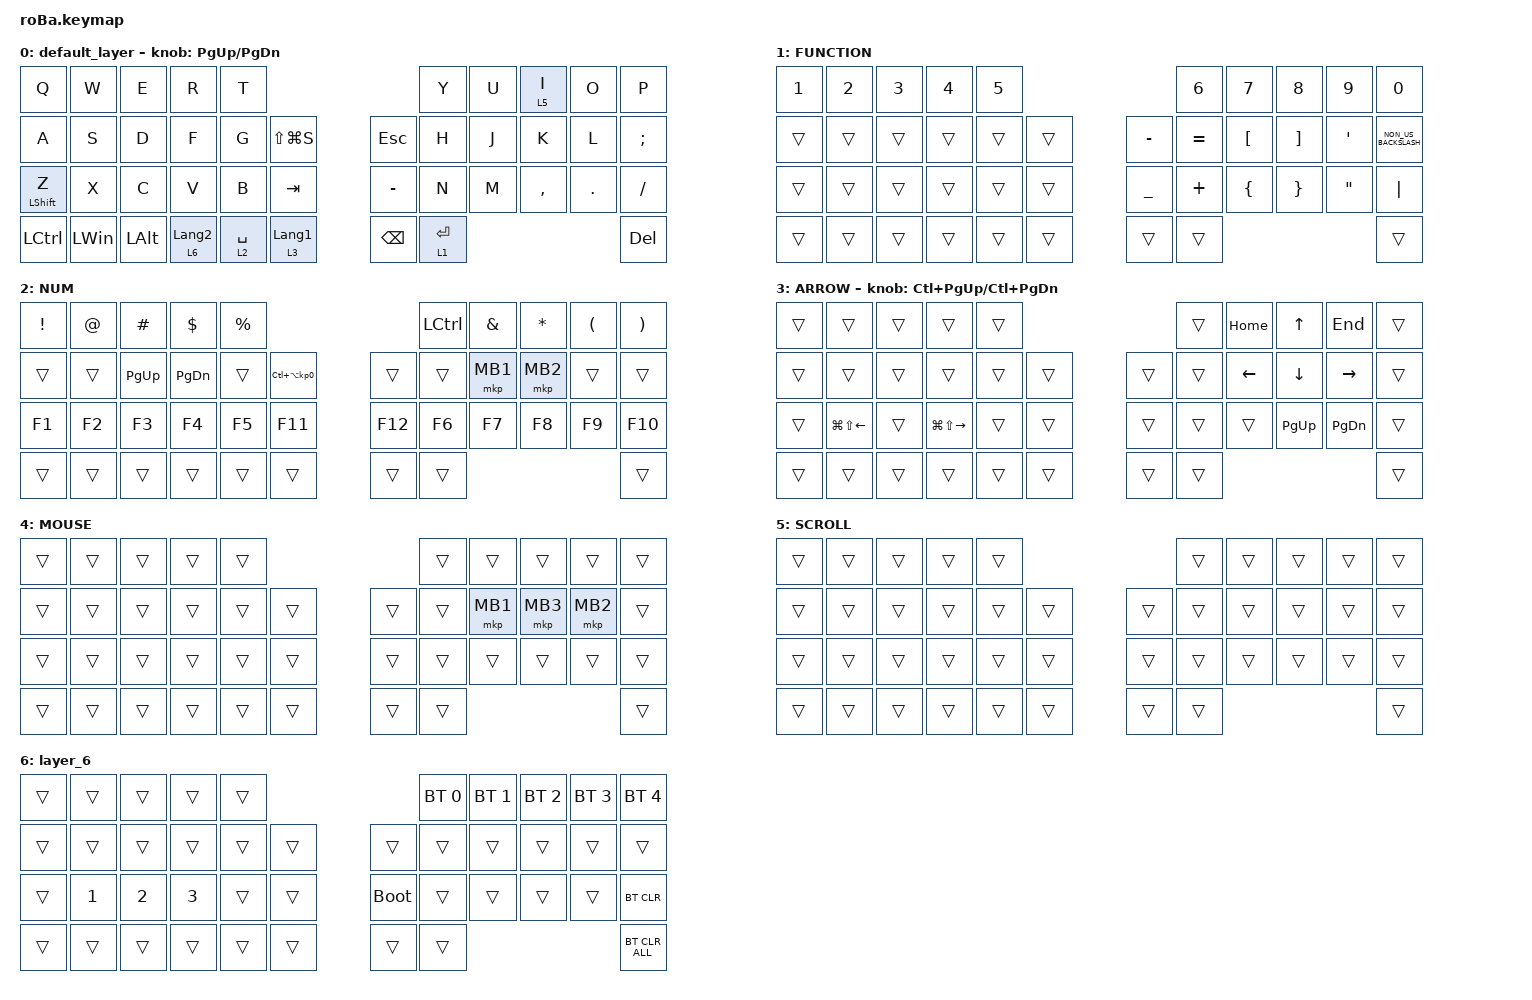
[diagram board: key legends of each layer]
#include <behaviors.dtsi>
#include <dt-bindings/zmk/bt.h>
#include <dt-bindings/zmk/keys.h>
#include <dt-bindings/zmk/pointing.h>

&mt {
    flavor = "balanced";
    quick-tap-ms = <0>;
};

&trackball {
    #automouse-layer = <4>;
    scroll-layers = <5>;

    // arrows {
    //     layers = <3>;
    //     bindings =
    //         <&kp RIGHT_ARROW>,
    //         <&kp LEFT_ARROW>,
    //         <&kp UP_ARROW>,
    //         <&kp DOWN_ARROW>;
    //     tick = <10>;
    //     wait-ms = <5>;
    //     tap-ms = <5>;
    // };
};

/ {
    combos {
        compatible = "zmk,combos";

        tab {
            bindings = <&kp TAB>;
            key-positions = <11 12>;
        };

        shift_tab {
            bindings = <&kp LS(TAB)>;
            key-positions = <12 13>;
        };

        muhennkann {
            bindings = <&to_layer_0 INT_MUHENKAN>;
            key-positions = <11 10>;
        };

        double_quotation {
            bindings = <&kp DOUBLE_QUOTES>;
            key-positions = <20 21>;
        };

        eq {
            bindings = <&kp EQUAL>;
            key-positions = <24 25>;
        };
    };

    macros {
        to_layer_0: to_layer_0 {
            compatible = "zmk,behavior-macro-one-param";
            #binding-cells = <1>;
            bindings = <&to 0 &macro_param_1to1 &kp MACRO_PLACEHOLDER>;
            label = "TO_LAYER_0";
        };
    };

    behaviors {
        lt_to_layer_0: lt_to_layer_0 {
            compatible = "zmk,behavior-hold-tap";
            label = "LAYER_TAP_TO_0";
            bindings = <&mo>, <&to_layer_0>;

            #binding-cells = <2>;
            tapping-term-ms = <200>;
        };
    };

    keymap {
        compatible = "zmk,keymap";

        default_layer {
            bindings = <
&kp Q             &kp W         &kp E         &kp R                        &kp T                                                        &kp Y        &kp U  &lt 5 I    &kp O    &kp P
&kp A             &kp S         &kp D         &kp F                        &kp G        &kp LS(LG(S))                    &kp ESCAPE     &kp H        &kp J  &kp K      &kp L    &kp SEMICOLON
&mt LEFT_SHIFT Z  &kp X         &kp C         &kp V                        &kp B        &kp TAB                          &kp MINUS      &kp N        &kp M  &kp COMMA  &kp DOT  &kp SLASH
&kp LCTRL         &kp LEFT_WIN  &kp LEFT_ALT  &lt_to_layer_0 6 LANGUAGE_2  &lt 2 SPACE  &lt_to_layer_0 3 LANGUAGE_1      &kp BACKSPACE  &lt 1 ENTER                             &kp DEL
            >;

            sensor-bindings = <&inc_dec_kp PG_UP PAGE_DOWN>;
        };

        FUNCTION {
            bindings = <
&kp NUMBER_1  &kp NUMBER_2  &kp NUMBER_3  &kp NUMBER_4  &kp NUMBER_5                              &kp NUMBER_6  &kp NUMBER_7      &kp NUMBER_8       &kp NUMBER_9       &kp NUMBER_0
&trans        &trans        &trans        &trans        &trans        &trans      &kp MINUS       &kp EQUAL     &kp LEFT_BRACKET  &kp RIGHT_BRACKET  &kp SINGLE_QUOTE   &kp NON_US_BACKSLASH
&trans        &trans        &trans        &trans        &trans        &trans      &kp UNDERSCORE  &kp PLUS      &kp LEFT_BRACE    &kp RIGHT_BRACE    &kp DOUBLE_QUOTES  &kp PIPE
&trans        &trans        &trans        &trans        &trans        &trans      &trans          &trans                                                                &trans
            >;
        };

        NUM {
            bindings = <
&kp EXCLAMATION  &kp AT_SIGN  &kp HASH     &kp DOLLAR     &kp PERCENT                                        &kp LCTRL  &kp AMPERSAND  &kp ASTERISK  &kp LEFT_PARENTHESIS  &kp RIGHT_PARENTHESIS
&trans           &trans       &kp PAGE_UP  &kp PAGE_DOWN  &trans       &kp LC(LA(KP_NUMBER_0))      &trans   &trans     &mkp MB1       &mkp MB2      &trans                &trans
&kp F1           &kp F2       &kp F3       &kp F4         &kp F5       &kp F11                      &kp F12  &kp F6     &kp F7         &kp F8        &kp F9                &kp F10
&trans           &trans       &trans       &trans         &trans       &trans                       &trans   &trans                                                        &trans
            >;
        };

        ARROW {
            bindings = <
&trans  &trans                  &trans  &trans                   &trans                      &trans  &kp HOME        &kp UP_ARROW    &kp END          &trans
&trans  &trans                  &trans  &trans                   &trans  &trans      &trans  &trans  &kp LEFT_ARROW  &kp DOWN_ARROW  &kp RIGHT_ARROW  &trans
&trans  &kp LG(LS(LEFT_ARROW))  &trans  &kp LG(LS(RIGHT_ARROW))  &trans  &trans      &trans  &trans  &trans          &kp PAGE_UP     &kp PAGE_DOWN    &trans
&trans  &trans                  &trans  &trans                   &trans  &trans      &trans  &trans                                                   &trans
            >;

            sensor-bindings = <&inc_dec_kp LC(PAGE_UP) LC(PAGE_DOWN)>;
        };

        MOUSE {
            bindings = <
&trans  &trans  &trans  &trans  &trans                      &trans  &trans    &trans    &trans    &trans
&trans  &trans  &trans  &trans  &trans  &trans      &trans  &trans  &mkp MB1  &mkp MB3  &mkp MB2  &trans
&trans  &trans  &trans  &trans  &trans  &trans      &trans  &trans  &trans    &trans    &trans    &trans
&trans  &trans  &trans  &trans  &trans  &trans      &trans  &trans                                &trans
            >;
        };

        SCROLL {
            bindings = <
&trans  &trans  &trans  &trans  &trans                      &trans  &trans  &trans  &trans  &trans
&trans  &trans  &trans  &trans  &trans  &trans      &trans  &trans  &trans  &trans  &trans  &trans
&trans  &trans  &trans  &trans  &trans  &trans      &trans  &trans  &trans  &trans  &trans  &trans
&trans  &trans  &trans  &trans  &trans  &trans      &trans  &trans                          &trans
            >;
        };

        layer_6 {
            bindings = <
&trans  &trans        &trans        &trans        &trans                           &bt BT_SEL 0  &bt BT_SEL 1  &bt BT_SEL 2  &bt BT_SEL 3  &bt BT_SEL 4
&trans  &trans        &trans        &trans        &trans  &trans      &trans       &trans        &trans        &trans        &trans        &trans
&trans  &kp NUMBER_1  &kp NUMBER_2  &kp NUMBER_3  &trans  &trans      &bootloader  &trans        &trans        &trans        &trans        &bt BT_CLR
&trans  &trans        &trans        &trans        &trans  &trans      &trans       &trans                                                  &bt BT_CLR_ALL
            >;
        };
    };
};
